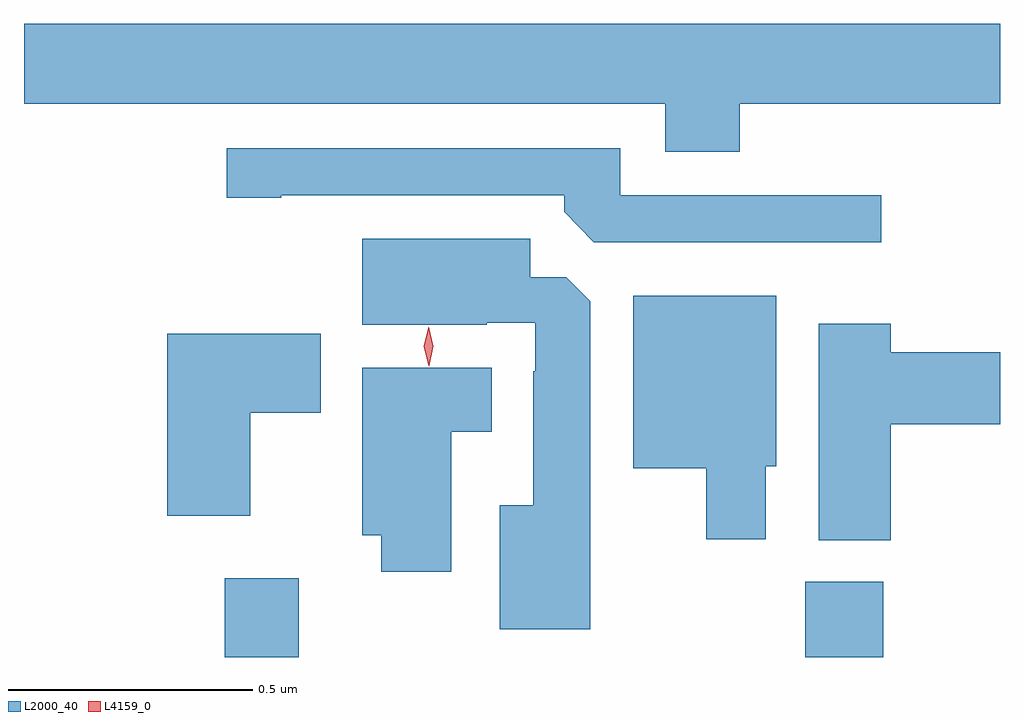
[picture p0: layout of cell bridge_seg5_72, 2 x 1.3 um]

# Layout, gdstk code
import gdstk
lib = gdstk.Library(unit=1e-6, precision=1e-09)
def R(c, l, rs):  # rectangles x0, y0, x1, y1
    for r in rs: c.add(gdstk.rectangle(r[:2], r[2:], *l))
def P(c, l, *ps):  # polygons
    for p in ps: c.add(gdstk.Polygon(p, *l))
L2000_40 = (2000, 40)
L4159_0 = (4159, 0)

bridge_seg5_72 = lib.new_cell('bridge_seg5_72')
R(bridge_seg5_72, L2000_40, [(139.046,900.913,139.198,901.075), (140.236,900.913,140.396,901.068)])
P(bridge_seg5_72, L2000_40, [(140.102,902.048),(140.635,902.048),(140.635,902.212),(138.635,902.212),(138.635,902.048),(139.949,902.048),(139.949,901.949),(140.102,901.949)],
  [(140.392,901.86),(139.857,901.86),(139.857,901.956),(139.05,901.956),(139.05,901.855),(139.162,901.855),(139.162,901.86),(139.742,901.86),(139.742,901.826),(139.803,901.764),(140.392,901.764)],
  [(139.795,901.643),(139.746,901.692),(139.672,901.692),(139.672,901.771),(139.328,901.771),(139.328,901.595),(139.583,901.595),(139.583,901.599),(139.683,901.599),(139.683,901.499),(139.679,901.499),(139.679,901.225),(139.61,901.225),(139.61,900.971),(139.795,900.971)],
  [(140.155,901.305),(140.176,901.305),(140.176,901.654),(139.883,901.654),(139.883,901.301),(140.033,901.301),(140.033,901.155),(140.155,901.155)],
  [(140.411,901.391),(140.635,901.391),(140.635,901.538),(140.411,901.538),(140.411,901.597),(140.264,901.597),(140.264,901.153),(140.411,901.153)],
  [(139.099,901.414),(139.243,901.414),(139.243,901.576),(138.929,901.576),(138.929,901.203),(139.099,901.203)],
  [(139.51,901.376),(139.594,901.376),(139.594,901.507),(139.328,901.507),(139.328,901.163),(139.367,901.163),(139.367,901.089),(139.51,901.089)])
P(bridge_seg5_72, L4159_0, [(139.465,901.51),(139.464,901.511),(139.454,901.551),(139.464,901.591),(139.464,901.591),(139.464,901.591),(139.474,901.551),(139.465,901.511)])

lib.write_gds('bridge_seg5_72.gds')
